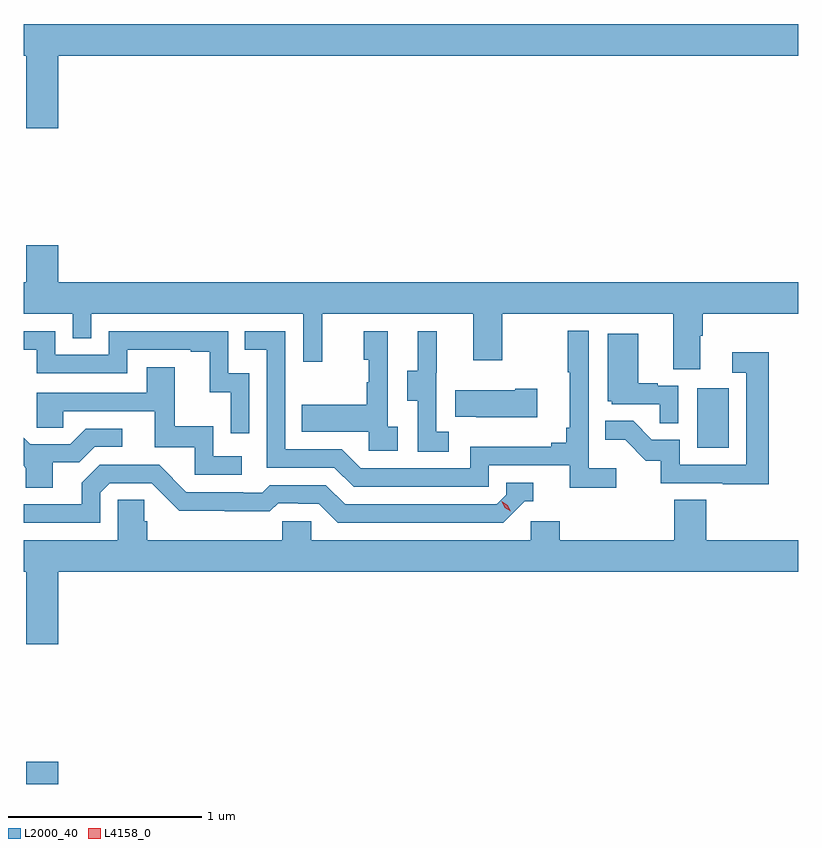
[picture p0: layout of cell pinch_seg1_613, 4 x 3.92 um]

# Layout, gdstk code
import gdstk
lib = gdstk.Library(unit=1e-6, precision=1e-09)
def R(c, l, rs):  # rectangles x0, y0, x1, y1
    for r in rs: c.add(gdstk.rectangle(r[:2], r[2:], *l))
def P(c, l, *ps):  # polygons
    for p in ps: c.add(gdstk.Polygon(p, *l))
L2000_40 = (2000, 40)
L4158_0 = (4158, 0)

pinch_seg1_613 = lib.new_cell('pinch_seg1_613')
R(pinch_seg1_613, L2000_40, [(1136.036,521.333,1136.2,521.449), (1139.498,523.068,1139.662,523.375)])
P(pinch_seg1_613, L2000_40, [(1136.2,525.092),(1140.021,525.092),(1140.021,525.256),(1136.021,525.256),(1136.021,525.092),(1136.036,525.092),(1136.036,524.718),(1136.2,524.718)],
  [(1139.515,523.648),(1139.528,523.648),(1139.528,523.76),(1140.021,523.76),(1140.021,523.924),(1136.2,523.924),(1136.2,524.113),(1136.036,524.113),(1136.036,523.924),(1136.021,523.924),(1136.021,523.76),(1136.274,523.76),(1136.274,523.633),(1136.37,523.633),(1136.37,523.76),(1137.465,523.76),(1137.465,523.512),(1137.563,523.512),(1137.563,523.76),(1138.343,523.76),(1138.343,523.52),(1138.491,523.52),(1138.491,523.76),(1139.375,523.76),(1139.375,523.474),(1139.515,523.474)],
  [(1139.08,522.964),(1138.938,522.964),(1138.938,523.672),(1138.83,523.672),(1138.83,523.459),(1138.841,523.459),(1138.841,523.171),(1138.822,523.171),(1138.822,523.094),(1138.745,523.094),(1138.745,523.075),(1138.326,523.075),(1138.326,522.963),(1137.762,522.963),(1137.663,523.062),(1137.372,523.062),(1137.372,523.671),(1137.163,523.671),(1137.163,523.575),(1137.276,523.575),(1137.276,522.966),(1137.626,522.966),(1137.725,522.867),(1138.422,522.867),(1138.422,522.978),(1138.841,522.978),(1138.841,522.862),(1139.08,522.862)],
  [(1137.186,523.452),(1137.078,523.452),(1137.078,523.671),(1136.46,523.671),(1136.46,523.548),(1136.184,523.548),(1136.184,523.671),(1136.021,523.671),(1136.021,523.575),(1136.088,523.575),(1136.088,523.452),(1136.556,523.452),(1136.556,523.575),(1136.885,523.575),(1136.885,523.563),(1136.981,523.563),(1136.981,523.355),(1137.09,523.355),(1137.09,523.143),(1137.186,523.143)],
  [(1137.952,523.178),(1137.9,523.178),(1137.9,523.669),(1137.776,523.669),(1137.776,523.524),(1137.802,523.524),(1137.802,523.406),(1137.792,523.406),(1137.792,523.291),(1137.457,523.291),(1137.457,523.151),(1137.804,523.151),(1137.804,523.053),(1137.952,523.053)],
  [(1138.216,523.151),(1138.152,523.151),(1138.152,523.455),(1138.154,523.455),(1138.154,523.669),(1138.055,523.669),(1138.055,523.467),(1138.001,523.467),(1138.001,523.312),(1138.056,523.312),(1138.056,523.048),(1138.216,523.048)],
  [(1139.4,523.389),(1139.294,523.389),(1139.294,523.402),(1139.194,523.402),(1139.194,523.657),(1139.036,523.657),(1139.036,523.308),(1139.058,523.308),(1139.058,523.293),(1139.305,523.293),(1139.305,523.195),(1139.4,523.195)],
  [(1139.867,523.561),(1139.679,523.561),(1139.679,523.455),(1139.751,523.455),(1139.751,522.981),(1139.409,522.981),(1139.409,523.11),(1139.265,523.11),(1139.167,523.208),(1139.023,523.208),(1139.023,523.109),(1139.127,523.109),(1139.234,523.002),(1139.311,523.002),(1139.311,522.885),(1139.629,522.885),(1139.629,522.88),(1139.867,522.88)],
  [(1137.148,523.026),(1137,523.026),(1137,523.18),(1136.801,523.18),(1136.801,523.483),(1136.657,523.483),(1136.657,523.353),(1136.088,523.353),(1136.088,523.173),(1136.225,523.173),(1136.225,523.257),(1136.699,523.257),(1136.699,523.071),(1136.904,523.071),(1136.904,522.93),(1137.148,522.93)],
  [(1138.672,523.374),(1138.559,523.374),(1138.559,523.366),(1138.249,523.366),(1138.249,523.229),(1138.357,523.229),(1138.357,523.226),(1138.672,523.226)],
  [(1136.173,522.994),(1136.308,522.994),(1136.388,523.074),(1136.53,523.074),(1136.53,523.167),(1136.342,523.167),(1136.261,523.086),(1136.055,523.086),(1136.021,523.12),(1136.021,522.976),(1136.033,522.964),(1136.033,522.862),(1136.173,522.862)],
  [(1136.418,522.837),(1136.466,522.885),(1136.682,522.885),(1136.824,522.743),(1137.06,522.743),(1137.06,522.741),(1137.293,522.741),(1137.335,522.783),(1137.438,522.783),(1137.438,522.78),(1137.545,522.78),(1137.644,522.681),(1138.497,522.681),(1138.608,522.792),(1138.651,522.792),(1138.651,522.888),(1138.512,522.888),(1138.512,522.825),(1138.464,522.777),(1137.681,522.777),(1137.582,522.876),(1137.293,522.876),(1137.254,522.837),(1137.155,522.837),(1137.155,522.84),(1136.862,522.84),(1136.721,522.981),(1136.415,522.981),(1136.321,522.887),(1136.321,522.777),(1136.021,522.777),(1136.021,522.681),(1136.418,522.681)],
  [(1136.2,522.428),(1140.021,522.428),(1140.021,522.592),(1139.546,522.592),(1139.546,522.8),(1139.381,522.8),(1139.381,522.592),(1138.79,522.592),(1138.79,522.69),(1138.638,522.69),(1138.638,522.592),(1137.507,522.592),(1137.507,522.69),(1137.357,522.69),(1137.357,522.592),(1136.66,522.592),(1136.66,522.69),(1136.645,522.69),(1136.645,522.8),(1136.508,522.8),(1136.508,522.592),(1136.021,522.592),(1136.021,522.428),(1136.036,522.428),(1136.036,522.054),(1136.2,522.054)])
P(pinch_seg1_613, L4158_0, [(1138.536,522.74),(1138.505,522.759),(1138.49,522.792),(1138.49,522.792),(1138.49,522.792),(1138.52,522.773),(1138.536,522.74),(1138.536,522.74)])

lib.write_gds('pinch_seg1_613.gds')
